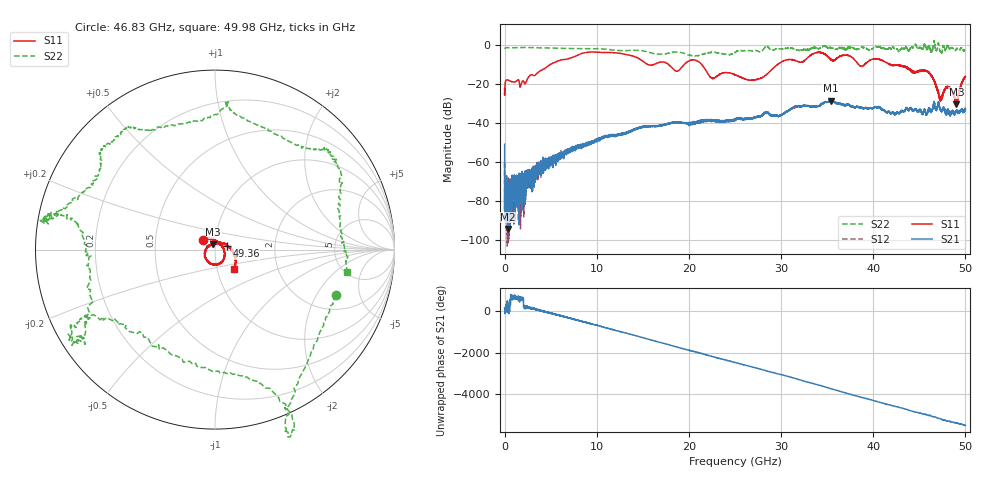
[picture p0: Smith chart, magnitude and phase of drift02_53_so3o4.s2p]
!Created with skrf (http://scikit-rf.org).
# Hz S RI R 50.0
!freq ReS11 ImS11 ReS21 ImS21 ReS12 ImS12 ReS22 ImS22
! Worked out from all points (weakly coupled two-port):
!   10001 points, 300 kHz to 50 GHz, reference 50 ohm
!   highest |S21| = -28.53 dB at 35.39 GHz (marker M1); lowest = -94.2 dB at 365.3 MHz (marker M2)
!   lowest |S11| = -30.4 dB at 49.03 GHz (marker M3), VSWR 1.06, Z = 48.9 + j2.8 ohm
!   |S11| at or under -10 dB: start of sweep to 4.957 GHz; 21.38 GHz to 29.63 GHz (8.249 GHz wide, 32.3 % of centre); 41.84 GHz to end of sweep (the widest 3 of 7)
!   |S22| runs from -5.7 to 2.3 dB; largest |S21 - S12| = 0.0041
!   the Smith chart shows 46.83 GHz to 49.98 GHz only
!   S11 on the Smith chart (normalised r, x): 46.83 GHz: 0.87, +0.09; 49.36 GHz: 1.14, +0.05; 49.98 GHz: 1.20, -0.27
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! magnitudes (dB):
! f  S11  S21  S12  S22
! 300 kHz  -22.4  -50.8  -60.2  -2.1
! 255.3 MHz  -17.9  -74.4  -76.9  -1.4
! 365.3 MHz  -18.0  -94.2  -75.3  -1.4
! 1.87 GHz  -19.1  -70.4  -70.2  -1.3
! 3.655 GHz  -14.0  -63.5  -64.0  -1.5
! 8.335 GHz  -4.5  -51.4  -51.3  -1.9
! 16.67 GHz  -9.1  -41.5  -41.3  -4.7
! 18.7 GHz  -13.5  -39.6  -39.6  -3.7
! 20.6 GHz  -7.7  -39.9  -40.1  -5.7
! 22.51 GHz  -17.1  -38.6  -38.6  -3.7
! 25 GHz  -15.3  -38.3  -38.2  -3.9
! 27.44 GHz  -17.6  -36.9  -36.6  -3.1
! 33.34 GHz  -4.9  -31.5  -31.3  -1.6
! 35.39 GHz  -7.4  -28.5  -28.6  -1.4
! 41.67 GHz  -9.7  -33.9  -34.1  -2.0
! 45.79 GHz  -13.6  -35.6  -35.5  -2.4
! 46.83 GHz  -21.5  -33.1  -33.2  -2.8
! 47.3 GHz  -26.8  -33.6  -33.2  -3.4
! 49.03 GHz  -30.4  -33.8  -34.0  -1.9
! 49.36 GHz  -23.3  -34.1  -34.3  -2.7
! 49.98 GHz  -16.4  -33.5  -32.9  -2.6
! 50 GHz  -16.2  -33.1  -32.3  -2.7
